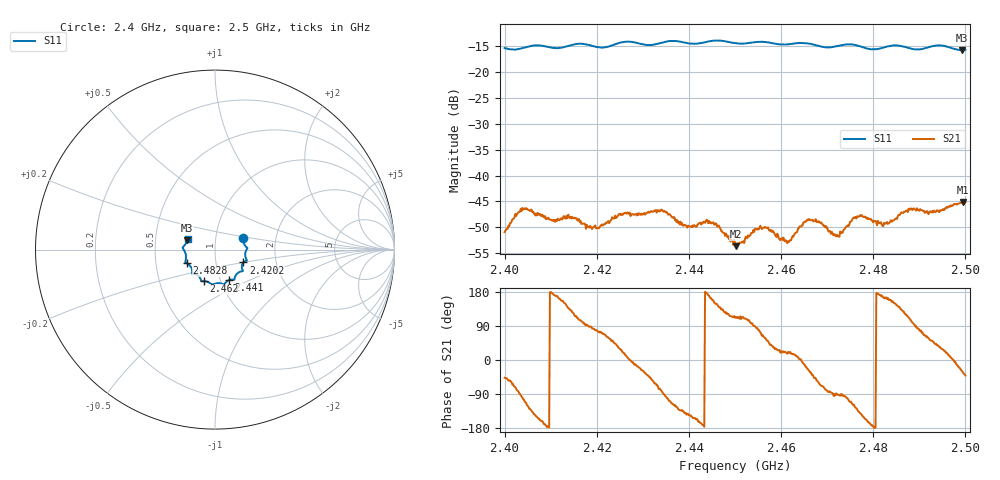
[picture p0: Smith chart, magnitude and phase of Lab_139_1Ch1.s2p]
# Hz S RI R 50
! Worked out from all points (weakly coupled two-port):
!   601 points, 2.4 GHz to 2.5 GHz, reference 50 ohm
!   highest |S21| = -45.09 dB at 2.4995 GHz (marker M1); lowest = -53.6 dB at 2.4502 GHz (marker M2)
!   lowest |S11| = -15.8 dB at 2.4993 GHz (marker M3), VSWR 1.39, Z = 36.5 + j3.87 ohm
!   |S11| at or under -10 dB: start of sweep to end of sweep
!   S12 and S22 are empty: the file has one direction only
!   S11 on the Smith chart (normalised r, x): 2.4 GHz: 1.36, +0.17; 2.4202 GHz: 1.36, -0.20; 2.441 GHz: 1.10, -0.39; 2.462 GHz: 0.84, -0.30; 2.4828 GHz: 0.72, -0.11; 2.5 GHz: 0.73, +0.09
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2.4e9  0.1582 0.0622  0.00195 -0.00208  0 0  0 0
2.404333e9  0.1715 0.0177  -0.00155 -0.00456  0 0  0 0
2.416667e9  0.1773 -0.0608  -0.000746 0.00333  0 0  0 0
2.420167e9  0.1582 -0.0715  0.000717 0.00303  0 0  0 0
2.425333e9  0.1548 -0.1152  0.0038 0.00193  0 0  0 0
2.433333e9  0.1115 -0.1511  0.00135 -0.00437  0 0  0 0
2.441e9  0.0784 -0.1699  -0.00287 -0.00145  0 0  0 0
2.4455e9  0.0509 -0.1943  -0.00294 0.0016  0 0  0 0
2.45e9  0.0281 -0.1877  -0.000816 0.00207  0 0  0 0
2.450167e9  0.0265 -0.1875  -0.000779 0.00193  0 0  0 0
2.455833e9  -0.0157 -0.1951  0.00134 0.00274  0 0  0 0
2.462e9  -0.0606 -0.1758  0.00222 0.000856  0 0  0 0
2.466667e9  -0.0789 -0.168  0.00289 -0.00235  0 0  0 0
2.472167e9  -0.115 -0.1354  -5.29e-05 -0.00269  0 0  0 0
2.477e9  -0.127 -0.1243  -0.003 -0.0027  0 0  0 0
2.482833e9  -0.1576 -0.0766  -0.00334 0.000881  0 0  0 0
2.483333e9  -0.1607 -0.0751  -0.00323 0.00127  0 0  0 0
2.488167e9  -0.1614 -0.0471  -0.0012 0.00468  0 0  0 0
2.4925e9  -0.1758 0.00175  0.00278 0.00351  0 0  0 0
2.499333e9  -0.1541 0.0517  0.00469 -0.00276  0 0  0 0
2.4995e9  -0.1536 0.0539  0.00465 -0.00306  0 0  0 0
2.5e9  -0.1521 0.0612  0.00414 -0.00361  0 0  0 0
